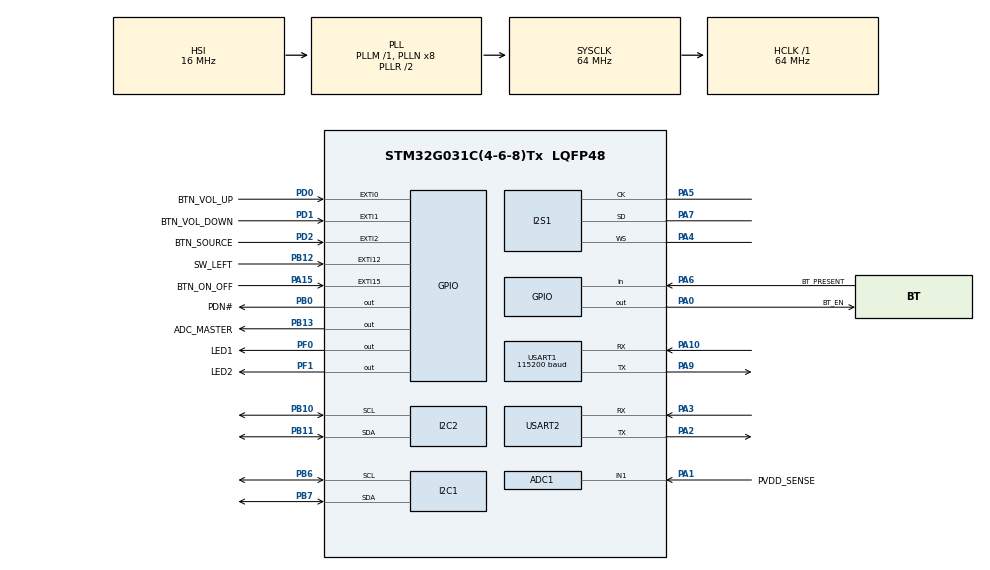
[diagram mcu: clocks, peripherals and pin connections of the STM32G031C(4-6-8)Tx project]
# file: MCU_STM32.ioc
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ADC1.Channel-6\#ChannelRegularConversion=ADC_CHANNEL_1
ADC1.NbrOfConversionFlag=1
ADC1.Rank-6\#ChannelRegularConversion=1
ADC1.SamplingTime-6\#ChannelRegularConversion=ADC_SAMPLINGTIME_COMMON_1
ADC1.SelectedChannel=ADC_CHANNEL_1
ADC1.master=1
I2C1.Timing=0x10B17DB5
I2C2.Timing=0x10B17DB5
I2S1.AudioFreq=I2S_AUDIOFREQ_48K
I2S1.CPOL=I2S_CPOL_LOW
I2S1.DataFormat=I2S_DATAFORMAT_24B
I2S1.ErrorAudioFreq=-0.79 %
I2S1.FullDuplexMode=I2S_FULLDUPLEXMODE_DISABLE
I2S1.Instance=SPI$Index
I2S1.Mode=I2S_MODE_SLAVE_RX
I2S1.RealAudioFreq=47.619 KHz
I2S1.Standard=I2S_STANDARD_PHILIPS
I2S1.VirtualMode=I2S_MODE_SLAVE
Mcu.Family=STM32G0
Mcu.Name=STM32G031C(4-6-8)Tx
Mcu.Package=LQFP48
NVIC.EXTI0_1_IRQn=true\:0\:0\:false\:false\:true\:true\:true\:true
NVIC.EXTI2_3_IRQn=true\:0\:0\:false\:false\:true\:true\:true\:true
NVIC.EXTI4_15_IRQn=true\:0\:0\:false\:false\:true\:true\:true\:true
NVIC.USART1_IRQn=true\:0\:0\:false\:false\:true\:true\:true\:true
PA0.GPIO_Label=BT_EN
PA0.GPIO_PuPd=GPIO_PULLDOWN
PA0.Signal=GPIO_Output
PA1.GPIO_Label=PVDD_SENSE
PA1.Mode=IN1
PA1.Signal=ADC1_IN1
PA10.Mode=Asynchronous
PA10.Signal=USART1_RX
PA13.Mode=Serial_Wire
PA13.Signal=SYS_SWDIO
PA14-BOOT0.Mode=Serial_Wire
PA14-BOOT0.Signal=SYS_SWCLK
PA15.GPIO_Label=BTN_ON_OFF
PA15.GPIO_ModeDefaultEXTI=GPIO_MODE_IT_FALLING
PA15.GPIO_PuPd=GPIO_PULLUP
PA15.Signal=GPXTI15
PA2.Mode=Asynchronous
PA2.Signal=USART2_TX
PA3.Mode=Asynchronous
PA3.Signal=USART2_RX
PA4.Mode=Half_Duplex_Slave
PA4.Signal=I2S1_WS
PA5.Mode=Half_Duplex_Slave
PA5.Signal=I2S1_CK
PA6.GPIO_Label=BT_PRESENT
PA6.GPIO_PuPd=GPIO_PULLUP
PA6.Signal=GPIO_Input
PA7.Mode=Half_Duplex_Slave
PA7.Signal=I2S1_SD
PA9.Mode=Asynchronous
PA9.Signal=USART1_TX
PB0.GPIO_Label=PDN\#
PB0.PinState=GPIO_PIN_SET
PB0.Signal=GPIO_Output
PB10.Mode=I2C
PB10.Signal=I2C2_SCL
PB11.Mode=I2C
PB11.Signal=I2C2_SDA
PB12.GPIO_Label=SW_LEFT
PB12.GPIO_ModeDefaultEXTI=GPIO_MODE_IT_RISING_FALLING
PB12.Signal=GPXTI12
PB13.GPIO_Label=ADC_MASTER
PB13.GPIO_PuPd=GPIO_PULLDOWN
PB13.Signal=GPIO_Output
PB6.Mode=I2C
PB6.Signal=I2C1_SCL
PB7.Mode=I2C
PB7.Signal=I2C1_SDA
PD0.GPIO_Label=BTN_VOL_UP
PD0.GPIO_ModeDefaultEXTI=GPIO_MODE_IT_FALLING
PD0.GPIO_PuPd=GPIO_PULLUP
PD0.Signal=GPXTI0
PD1.GPIO_Label=BTN_VOL_DOWN
PD1.GPIO_ModeDefaultEXTI=GPIO_MODE_IT_FALLING
PD1.GPIO_PuPd=GPIO_PULLUP
PD1.Signal=GPXTI1
PD2.GPIO_Label=BTN_SOURCE
PD2.GPIO_ModeDefaultEXTI=GPIO_MODE_IT_FALLING
PD2.GPIO_PuPd=GPIO_PULLUP
PD2.Signal=GPXTI2
PF0-OSC_IN\ (PF0).GPIO_Label=LED1
PF0-OSC_IN\ (PF0).GPIO_PuPd=GPIO_PULLDOWN
PF0-OSC_IN\ (PF0).PinState=GPIO_PIN_RESET
PF0-OSC_IN\ (PF0).Signal=GPIO_Output
PF1-OSC_OUT\ (PF1).GPIO_Label=LED2
PF1-OSC_OUT\ (PF1).GPIO_PuPd=GPIO_PULLDOWN
PF1-OSC_OUT\ (PF1).PinState=GPIO_PIN_RESET
PF1-OSC_OUT\ (PF1).Signal=GPIO_Output
ProjectManager.HeapSize=0x200
ProjectManager.StackSize=0x400
ProjectManager.TargetToolchain=CMake
RCC.ADCFreq_Value=64000000
RCC.AHBFreq_Value=64000000
RCC.CortexFreq_Value=64000000
RCC.EXTERNAL_CLOCK_VALUE=12288000
RCC.HCLKFreq_Value=64000000
RCC.HSE_VALUE=8000000
RCC.HSI_VALUE=16000000
RCC.LSE_VALUE=32768
RCC.SYSCLKFreq_VALUE=64000000
RCC.SYSCLKSource=RCC_SYSCLKSOURCE_PLLCLK
RCC.VCOOutputFreq_Value=128000000
USART1.BaudRate=115200
USART1.OverSampling=UART_OVERSAMPLING_16
USART1.StopBits=STOPBITS_2
USART1.VirtualMode-Asynchronous=VM_ASYNC
USART2.VirtualMode-Asynchronous=VM_ASYNC
board=custom

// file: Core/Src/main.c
/* USER CODE BEGIN Header */
/**
 ******************************************************************************
 * @file           : main.c
 * @brief          : Main program body
 ******************************************************************************
 * @attention
 *
 * Copyright (c) 2026 STMicroelectronics.
 * All rights reserved.
 *
 * This software is licensed under terms that can be found in the LICENSE file
 * in the root directory of this software component.
 * If no LICENSE file comes with this software, it is provided AS-IS.
 *
 ******************************************************************************
 */
/* USER CODE END Header */
#include "main.h"

/* USER CODE BEGIN Includes */
#include <stdbool.h>
#include <stdint.h>
#include <stdio.h>

#include "input_detection.h"
#include "pc_control.h"
#include "pd_controller.h"

#include "sounds.h"

#include "stm32g0xx_hal_def.h"
#include "stm32g0xx_hal_i2s.h"

/* USER CODE END Includes */

ADC_HandleTypeDef hadc1;

I2C_HandleTypeDef hi2c1;
I2C_HandleTypeDef hi2c2;

I2S_HandleTypeDef hi2s1;

UART_HandleTypeDef huart1;
UART_HandleTypeDef huart2;

void SystemClock_Config(void);
static void MX_GPIO_Init(void);
static void MX_I2C1_Init(void);
static void MX_I2C2_Init(void);
static void MX_I2S1_Init(void);
static void MX_USART1_UART_Init(void);
static void MX_USART2_UART_Init(void);
static void MX_ADC1_Init(void);

/* USER CODE BEGIN 0 */

// static void audio_start_aux(void)
// {
//     /* 1. amps out of shutdown (PDN high + 5 ms) */
//     soundbar_dsp_power_on();

//     /* 2. clocks: no Bluetooth board -> the PCM1808 becomes I2S master
//      *    and its oscillator starts. With the ESP32 board fitted, the
//      *    ESP32 would start its clocks here instead.                    */
//     if (HAL_GPIO_ReadPin(BT_PRESENT_GPIO_Port, BT_PRESENT_Pin) ==
//     GPIO_PIN_SET) {
//         HAL_GPIO_WritePin(ADC_MASTER_GPIO_Port, ADC_MASTER_Pin,
//         GPIO_PIN_SET);
//     }
//     HAL_Delay(20);                     /* oscillator + clocks settle      */

//     /* 3. reset, configure, play (both amps) */
//     if (soundbar_dsp_start(48000) != HAL_OK) {
//         /* an amp did not answer on I2C: wrong address, PDN, solder joint */
//         Error_Handler();
//     }
//     soundbar_dsp_set_volume(0.0f);
// }
#define TAS_PDN_PORT PDN__GPIO_Port
#define TAS_PDN_PIN PDN__Pin
static void tas_pdn(uint8_t on) {
  HAL_GPIO_WritePin(TAS_PDN_PORT, TAS_PDN_PIN,
                    on ? GPIO_PIN_SET : GPIO_PIN_RESET);
}

static void start_adc(void) {
  HAL_GPIO_WritePin(ADC_MASTER_GPIO_Port, ADC_MASTER_Pin, GPIO_PIN_SET);
}

static void stop_adc(void) {
  HAL_GPIO_WritePin(ADC_MASTER_GPIO_Port, ADC_MASTER_Pin, GPIO_PIN_RESET);
}

#define TAS_REG_PAGE 0x00 /* on every page: selects the page     */
#define TAS_REG_BOOK 0x7F /* on page 0 only: selects the book    */

#define TAS_REG_CTRL_1 0x02 /* switching frequency, modulation     */
#define TAS_STATE_768KHZ 0x00
#define TAS_STATE_384KHZ 0x10
#define TAS_STATE_BD 0x00   // in theory no inductor needed i think
#define TAS_STATE_1SPW 0x01 // efficient but requires LC filter
#define TAS_STATE_HYBRID                                                       \
  0x02 // requires the supply voltage to be specified using the PPC3 tool which
       // we dont have access to

#define TAS_REG_CTRL_2                                                         \
  0x03 /* state (deep sleep/sleep/Hi-Z/play), mute, DSP reset */
#define TAS_STATE_DEEP_SLEEP 0x00
#define TAS_STATE_SLEEP 0x01
#define TAS_STATE_HIZ 0x02
#define TAS_STATE_DIS_DSP 0x10
#define TAS_STATE_PLAY 0x03
#define TAS_STATE_MUTE 0x08

#define TAS_REG_SAP_CTRL_3 0x35 /* which input goes to which DSP path  */
#define TAS_STATE_BOTH_RIGHT 0x21
#define TAS_STATE_BOTH_LEFT 0x12

#define TAS_REG_DIG_VOL 0x4C /* master volume, -0.5 dB steps, default 0x30 */

#define TAS_REG_AGAIN 0x54 /* analog gain, default 0x00 */

#define TAS_REG_DAC_CTRL 0x5D /* DAC control, default 0xF8 */

#define TAS_REG_PHASE_CTRL 0x6A /* phase control */
#define TAS_STATE_I2S_SYNC_EN 0x02
#define TAS_STATE_PHASE_SYNC_EN 0x01
#define TAS_PHASE(n) ((uint8_t)((n) << 2))

#define CHAN_FAULT 0x70
#define GLOBAL_FAULT1 0x71
#define GLOBAL_FAULT2 0x72
#define OT_WARNING 0x73

#define TAS_REG_FAULT_CLEAR 0x78
#define TAS_FAULT_CLEAR 0x80

#define TAS_REG_PIN_CONTROL2                                                   \
  0x75 /* fault latch enables [DS Table 7-48], default 0xF8 */
#define TAS_LATCHES_OFF                                                        \
  0xC0 /* bits 7-6 reserved = 11; bits 5-3 = 0: clock fault,                   \
          OTSD and OT warning flags show the current status */
#define TAS_REG_MISC_CONTROL 0x76 /* [DS Table 7-49], default 0x00 */
#define TAS_OTSD_AUTO_REC                                                      \
  0x10 /* bit 4: restart by itself after over-temperature */

#define TAS_MAX_CHAN_FAULTS 3 /* overcurrent/DC retries before giving up */

#define TAS_REG_DSP_MISC 0x66 /* EQ/DRC bypass, separate L/R coefs   */
#define TAS_STATE_LR_SEPERATE 0x08

#define TAS_BOOK_CTRL 0x00 /* control port registers above        */

#define TAS_BOOK_DSP 0x8C
#define TAS_PAGE_INPUT_MIXER 0x29
#define TAS_STATE_L_TO_L 0x18
#define TAS_STATE_R_TO_L 0x1C
#define TAS_STATE_L_TO_R 0x20
#define TAS_STATE_R_TO_R 0x24

#define TAS_I2C (&hi2c2)
#define TAS_I2C_TIMEOUT_MS 10
HAL_StatusTypeDef tas_write(uint8_t addr, uint8_t reg, uint8_t val) {
  return HAL_I2C_Mem_Write(TAS_I2C, (uint16_t)(addr), reg, I2C_MEMADD_SIZE_8BIT,
                           &val, 1, TAS_I2C_TIMEOUT_MS);
}

HAL_StatusTypeDef tas_write_32(uint8_t addr, uint8_t reg, uint32_t val) {
  uint32_t be_val = __builtin_bswap32(val); // convert to big-endian
  return HAL_I2C_Mem_Write(TAS_I2C, (uint16_t)(addr), reg, I2C_MEMADD_SIZE_8BIT,
                           (uint8_t *)&be_val, 4, TAS_I2C_TIMEOUT_MS);
}

HAL_StatusTypeDef tas_read(uint8_t addr, uint8_t reg, uint8_t *val) {
  return HAL_I2C_Mem_Read(TAS_I2C, (uint16_t)(addr), reg, I2C_MEMADD_SIZE_8BIT,
                          val, 1, TAS_I2C_TIMEOUT_MS);
}

HAL_StatusTypeDef tas_select(uint8_t addr, uint8_t book, uint8_t page) {
  HAL_StatusTypeDef st = tas_write(addr, TAS_REG_PAGE, 0x00);
  st |= tas_write(addr, TAS_REG_BOOK, book);
  st |= tas_write(addr, TAS_REG_PAGE, page);
  return st;
}

HAL_StatusTypeDef tas_deep_sleep(uint8_t addr) {
  HAL_StatusTypeDef st = tas_select(addr, TAS_BOOK_CTRL, 0x00);
  st |= tas_write(addr, TAS_REG_CTRL_2, TAS_STATE_HIZ);
  st |=
      tas_write(addr, TAS_REG_CTRL_2, TAS_STATE_DEEP_SLEEP | TAS_STATE_DIS_DSP);
  return st;
}

HAL_StatusTypeDef tas_play(uint8_t addr) {
  HAL_StatusTypeDef st;
  st = tas_select(addr, TAS_BOOK_CTRL, 0x00);
  st |= tas_write(addr, TAS_REG_CTRL_2, TAS_STATE_HIZ);
  st |= tas_write(addr, TAS_REG_CTRL_2, TAS_STATE_PLAY);
  return st;
}

HAL_StatusTypeDef tas_set_volume(uint8_t addr, uint8_t code) {
  // -0.5 dB steps, 0x30 = 0 dB, 0xFF = mute, 0x00 = +24 dB
  HAL_StatusTypeDef st = tas_select(addr, TAS_BOOK_CTRL, 0x00);
  st |= tas_write(addr, TAS_REG_DIG_VOL, code);
  return st;
}

#define VOL_MAX 0x00      /* +24 dB (loudest the TAS can do), clips above -24 dBFS */
#define VOL_MIN 0xFC      /* -102 dB (last 2 dB step before mute 0xFF) */
#define VOL_START 0x30    /* 0 dB at power-up                   */
#define VOL_STEP 4        /* 2 dB per button press              */
#define VOL_SOUND_MIN 0x6C /* sounds play at least at -30 dB    */
static uint8_t vol_code = VOL_START;

static HAL_StatusTypeDef tas_both_volume(uint8_t code) {
  HAL_StatusTypeDef st = tas_set_volume(LEFT_TAS_ADDR, code);
  st |= tas_set_volume(RIGHT_TAS_ADDR, code);
  return st;
}

/* Everything that must happen while the I2S clock is stopped. */
static HAL_StatusTypeDef tas_prepare(uint8_t addr) {
  HAL_StatusTypeDef st = tas_select(addr, TAS_BOOK_CTRL, 0x00);

  st |= tas_write(addr, TAS_REG_CTRL_1, TAS_STATE_384KHZ | TAS_STATE_1SPW);

  st |= tas_write(addr, TAS_REG_CTRL_2, TAS_STATE_HIZ | TAS_STATE_DIS_DSP);

  // this sets the input routing to the DSPs.
  // The TAS5805M has two DSPs, one for each channel, and each DSP has two
  // inputs. The default routing is that the left input goes to the left DSP and
  // the right input goes to the right DSP. We want both DSPs to receive the
  // same input, so we set both DSPs to receive the left input. This is done by
  // writing 0x12 to the SAP_CTRL_3 register for the left TAS5805M and 0x21 for
  // the right TAS5805M. However, this loses the ability to mix left and right
  // signals as only one input (doubled) reaches the dsp. Therefore, we use the
  // input mixer instead to achieve the same goal while retaining the ability to
  // mix left and right signals. switch (addr) {
  //   case LEFT_TAS_ADDR:  st |= tas_write(addr, TAS_REG_SAP_CTRL_3,
  //   TAS_STATE_BOTH_LEFT); break; case RIGHT_TAS_ADDR: st |= tas_write(addr,
  //   TAS_REG_SAP_CTRL_3, TAS_STATE_BOTH_RIGHT); break;
  // }

  st |= tas_write(addr, TAS_REG_AGAIN,
                  0x07); // -3.5 dB analog gain -> ~19.7 V peak output which
                         // matches the 20V supply

  st |= tas_write(addr, TAS_REG_DAC_CTRL,
                  0x78); // set DAC Frequency to 6.144 MHz instead of 3.072 MHz,
                         // because we can.

  uint8_t phase = (addr == LEFT_TAS_ADDR)
                      ? TAS_PHASE(0)
                      : TAS_PHASE(1); // 0x00 = phase 0, 0x04 = phase 1
  st |= tas_write(addr, TAS_REG_PHASE_CTRL,
                  phase | TAS_STATE_I2S_SYNC_EN | TAS_STATE_PHASE_SYNC_EN);

  st |= tas_write(addr, TAS_REG_PIN_CONTROL2, TAS_LATCHES_OFF);
  st |= tas_write(addr, TAS_REG_MISC_CONTROL, TAS_OTSD_AUTO_REC);

  // this sets the DSPs to use separate coefficients for left and right channels
  // because our "left" and "right" channels are actually the tweeter and
  // midrange channels, which are both on the same side of the soundbar.
  // Therefore, we need to use separate coefficients for each channel.
  st |= tas_write(addr, TAS_REG_DSP_MISC, TAS_STATE_LR_SEPERATE);

  return st;
}

void tas_input_mixer(uint8_t addr, uint32_t LtoL, uint32_t RtoL, uint32_t LtoR,
                     uint32_t RtoR) {
  // 9.23 fixed precision format, 0x80000000 = -256.0, 0x00800000 = 1.0,
  // 0x00000000 = 0.0
  HAL_StatusTypeDef st = tas_select(addr, TAS_BOOK_DSP, TAS_PAGE_INPUT_MIXER);
  st |= tas_write_32(addr, TAS_STATE_L_TO_L, LtoL);
  st |= tas_write_32(addr, TAS_STATE_R_TO_L, RtoL);
  st |= tas_write_32(addr, TAS_STATE_L_TO_R, LtoR);
  st |= tas_write_32(addr, TAS_STATE_R_TO_R, RtoR);

  if (st != HAL_OK)
    Error_Handler();
}

uint32_t bq_tweeter[] = {
    // Order: b0, b1, b2, -a1, -a2 (on earlevel.com a = b, b = a)
    // LR4, 3000Hz, High-Pass, Q=0.707, 0dB gain
    0x06F66F74, 0xF2132118, 0x06F66F74, 0x0DCA4A1D, 0xF9F08C4D,
    0x06F66F74, 0xF2132118, 0x06F66F74, 0x0DCA4A1D, 0xF9F08C4D,
};

uint32_t bq_midrange[] = {
    // Order: b0, b1, b2, -a1, -a2 (on earlevel.com a = b, b = a)
    // LR4, 3000Hz, Low-Pass, Q=0.707, 0dB gain
    0x00114A66, 0x002294CB, 0x00114A66, 0x0DCA4A1D, 0xF9F08C4D,
    0x00114A66, 0x002294CB, 0x00114A66, 0x0DCA4A1D, 0xF9F08C4D,
    // LR4, 100Hz, High-Pass, Q=0.707, 0dB gain
    0x07F68B2D, 0xF012E9A6, 0x07F68B2D, 0x0FED0B2D, 0xF812DE78,
    0x07F68B2D, 0xF012E9A6, 0x07F68B2D, 0x0FED0B2D, 0xF812DE78,
    // Bass lift, 300Hz, Low-Shelf, Q=0.707, +6dB gain
    0x080BC33F, 0xF03940BA, 0x07BC89CB, 0x0FC7227A, 0xF838162B,
};
#define TAS_BOOK_BQ 0xAA
#define TAS_PAGE_BQ_MIDRANGE 0x24
#define TAS_START_ADDR_BQ_MIDRANGE 0x18
#define TAS_PAGE_BQ_TWEETER 0x26
#define TAS_START_ADDR_BQ_TWEETER 0x54

void tas_equalizer(uint8_t addr, uint8_t page, uint8_t start_addr,
                   uint32_t *data, size_t length) {
  HAL_StatusTypeDef st = HAL_OK;

  st |= tas_select(addr, TAS_BOOK_BQ, page);

  uint8_t curr_addr = start_addr;
  for (int i = 0; i < length; i++) {
    st |= tas_write_32(addr, curr_addr, data[i]);
    curr_addr += sizeof(data[0]);
  }

  if (st != HAL_OK)
    Error_Handler();
}

static void tas_startup(void) {
  HAL_StatusTypeDef st = HAL_OK;
  tas_pdn(false);
  HAL_Delay(6);
  tas_pdn(true);
  HAL_Delay(6);
  stop_adc();
  HAL_Delay(6);
  st |= tas_prepare(LEFT_TAS_ADDR);
  st |= tas_prepare(RIGHT_TAS_ADDR);
  start_adc();
  HAL_Delay(20); /* oscillator + PLL     */

  /* release the DSPs (Hi-Z, DIS_DSP = 0), then wait [DS 7.5.3.1 step 4/5] */
  st |= tas_select(LEFT_TAS_ADDR, TAS_BOOK_CTRL, 0x00);
  st |= tas_select(RIGHT_TAS_ADDR, TAS_BOOK_CTRL, 0x00);
  st |= tas_write(LEFT_TAS_ADDR, TAS_REG_CTRL_2, TAS_STATE_HIZ);
  st |= tas_write(RIGHT_TAS_ADDR, TAS_REG_CTRL_2, TAS_STATE_HIZ);
  HAL_Delay(6);

  /* (DSP coefficients here) */
  // R = tweerter, L = mids -> forward left input to both channels
  tas_input_mixer(LEFT_TAS_ADDR, 0x00800000, 0x00000000, 0x00800000,
                  0x00000000);
  // R = tweerter, L = mids -> forward right input to both channels
  tas_input_mixer(RIGHT_TAS_ADDR, 0x00000000, 0x00800000, 0x00000000,
                  0x00800000);

  size_t length_midrange = sizeof(bq_midrange) / sizeof(bq_midrange[0]);
  size_t length_tweeter = sizeof(bq_tweeter) / sizeof(bq_tweeter[0]);
  tas_equalizer(LEFT_TAS_ADDR, TAS_PAGE_BQ_MIDRANGE, TAS_START_ADDR_BQ_MIDRANGE,
                bq_midrange, length_midrange);
  tas_equalizer(LEFT_TAS_ADDR, TAS_PAGE_BQ_TWEETER, TAS_START_ADDR_BQ_TWEETER,
                bq_tweeter, length_tweeter);
  tas_equalizer(RIGHT_TAS_ADDR, TAS_PAGE_BQ_MIDRANGE,
                TAS_START_ADDR_BQ_MIDRANGE, bq_midrange, length_midrange);
  tas_equalizer(RIGHT_TAS_ADDR, TAS_PAGE_BQ_TWEETER, TAS_START_ADDR_BQ_TWEETER,
                bq_tweeter, length_tweeter);

  st |= tas_both_volume(vol_code); /* PDN reset it to 0 dB */

  st |= tas_select(LEFT_TAS_ADDR, TAS_BOOK_CTRL, 0x00);
  st |= tas_select(RIGHT_TAS_ADDR, TAS_BOOK_CTRL, 0x00);
  st |= tas_write(LEFT_TAS_ADDR, TAS_REG_CTRL_2, TAS_STATE_PLAY);
  st |= tas_write(RIGHT_TAS_ADDR, TAS_REG_CTRL_2, TAS_STATE_PLAY);
  HAL_Delay(6);

  /* the clock stop left a latched clock fault: clear it */
  st |= tas_write(LEFT_TAS_ADDR, TAS_REG_FAULT_CLEAR, TAS_FAULT_CLEAR);
  st |= tas_write(RIGHT_TAS_ADDR, TAS_REG_FAULT_CLEAR, TAS_FAULT_CLEAR);

  if (st != HAL_OK)
    Error_Handler();
}

void tas_handle_error(uint8_t addr, uint8_t reg, uint8_t val) {
  char buf[64];
  snprintf(buf, sizeof buf,
           "TAS5805M FAULT: addr=0x%02X, reg=0x%02X, val=0x%02X\n", addr, reg,
           val);
  reply(buf);
  // while (1) {
  //   HAL_GPIO_TogglePin(LED1_GPIO_Port, LED1_Pin);
  //   HAL_Delay(100);
  // }
}

void tas_handle_warning(uint8_t addr, uint8_t reg, uint8_t val) {
  char buf[64];
  snprintf(buf, sizeof buf,
           "TAS5805M WARNING: addr=0x%02X, reg=0x%02X, val=0x%02X\n", addr, reg,
           val);
  reply(buf);
  // while (1) {
  //   HAL_GPIO_TogglePin(LED1_GPIO_Port, LED1_Pin);
  //   HAL_Delay(1000);
  // }
}

void tas_faults(uint8_t addr) {
  static uint8_t chan_fault_count[2]; /* [0] left, [1] right */
  uint8_t idx = (addr == LEFT_TAS_ADDR) ? 0 : 1;
  if (chan_fault_count[idx] > TAS_MAX_CHAN_FAULTS)
    return; /* gave up, stays in Hi-Z */

  HAL_StatusTypeDef st = tas_select(addr, TAS_BOOK_CTRL, 0x00);
  uint8_t chan = 0, g1 = 0, g2 = 0, ot = 0;
  st |= tas_read(addr, CHAN_FAULT, &chan);
  st |= tas_read(addr, GLOBAL_FAULT1, &g1);
  st |= tas_read(addr, GLOBAL_FAULT2, &g2);
  st |= tas_read(addr, OT_WARNING, &ot);
  if (st != HAL_OK)
    Error_Handler();

  if (chan)
    tas_handle_error(addr, CHAN_FAULT, chan);
  if (g1)
    tas_handle_error(addr, GLOBAL_FAULT1, g1);
  if (g2)
    tas_handle_error(addr, GLOBAL_FAULT2, g2);
  if (ot)
    tas_handle_warning(addr, OT_WARNING, ot);
  if (!(chan | g1 | g2 | ot))
    return;

  /* overcurrent / DC on a speaker output: a real hardware problem.
     Retry a few times, then give up and keep the outputs off.     */
  if (chan && ++chan_fault_count[idx] > TAS_MAX_CHAN_FAULTS) {
    tas_write(addr, TAS_REG_CTRL_2, TAS_STATE_HIZ);
    tas_handle_error(addr, CHAN_FAULT, chan); /* last report, flag kept */
    return;
  }

  /* clock, PVDD under/overvoltage, temperature: the chip recovers by
     itself [DS 7.5.3.3]; only the latched flag has to be cleared.
     If the cause is still there, the bit comes back immediately.  */
  tas_write(addr, TAS_REG_FAULT_CLEAR, TAS_FAULT_CLEAR);
}

#define CHUNK_SRC 32                          // source samples per chunk
static int16_t buf[CHUNK_SRC * 2 * 2];        // ×2 frames, ×2 channels = 256 bytes

/* both amps: same state, page 0 / book 0 */
static HAL_StatusTypeDef tas_both_state(uint8_t state) {
  HAL_StatusTypeDef st = HAL_OK;
  st |= tas_select(LEFT_TAS_ADDR, TAS_BOOK_CTRL, 0x00);
  st |= tas_write(LEFT_TAS_ADDR, TAS_REG_CTRL_2, state);
  st |= tas_select(RIGHT_TAS_ADDR, TAS_BOOK_CTRL, 0x00);
  st |= tas_write(RIGHT_TAS_ADDR, TAS_REG_CTRL_2, state);
  return st;
}

static HAL_StatusTypeDef tas_both_clear_faults(void) {
  HAL_StatusTypeDef st = HAL_OK;
  st |= tas_write(LEFT_TAS_ADDR, TAS_REG_FAULT_CLEAR, TAS_FAULT_CLEAR);
  st |= tas_write(RIGHT_TAS_ADDR, TAS_REG_FAULT_CLEAR, TAS_FAULT_CLEAR);
  return st;
}

/* send 'frames' frames of silence; starts the clocks on the first call */
static void i2s_silence(I2S_HandleTypeDef *hi2s, size_t frames) {
  for (size_t k = 0; k < sizeof(buf) / sizeof(buf[0]); k++)
    buf[k] = 0;
  size_t per_chunk = sizeof(buf) / sizeof(buf[0]) / 2;     // 64 frames
  while (frames) {
    size_t f = (frames < per_chunk) ? frames : per_chunk;
    HAL_I2S_Transmit(hi2s, (uint16_t *)buf, f * 2, HAL_MAX_DELAY);
    frames -= f;
  }
}

static const int16_t sine_1k[32] = {
  0, 1561, 3061, 4445, 5657, 6652, 7391, 7846,
  8000, 7846, 7391, 6652, 5657, 4445, 3061, 1561,
  0, -1561, -3061, -4445, -5657, -6652, -7391, -7846,
  -8000, -7846, -7391, -6652, -5657, -4445, -3061, -1561
};

/* one 16-bit half-word to the I2S data register, as soon as there is room.
 * The I2S must already be running (i2s_silence() enables it). */
static inline void i2s_put(SPI_TypeDef *spi, int16_t s) {
  while ((spi->SR & SPI_SR_TXE) == 0U) {
  }
  spi->DR = (uint16_t)s;
}

/* Streams a 16 kHz sound sample by sample instead of refilling a buffer
 * between HAL_I2S_Transmit() calls: that refill took ~30 us at -O0, longer
 * than one 15.5 us slot, so the transmitter ran dry every chunk. Here each
 * sample is fetched while the previous one is still shifting out. */
static void sound_stream(I2S_HandleTypeDef *hi2s, const int16_t *pcm, size_t n) {
  SPI_TypeDef *spi = hi2s->Instance;
  for (size_t j = 0; j < n; j++) {
    int16_t s = pcm[j];
    for (int r = 0; r < 2; r++) {             // 16 kHz -> 32 kHz
      i2s_put(spi, s);                        // L
      i2s_put(spi, s);                        // R
    }
  }
}

/* test tone: 'ms' milliseconds of 1 kHz on L and R */
void sine_play(I2S_HandleTypeDef *hi2s, uint32_t ms) {
  size_t frames_per_chunk = sizeof(buf) / sizeof(buf[0]) / 2;   // 64 frames = 2 periods
  for (size_t k = 0; k < frames_per_chunk; k++) {
    int16_t s = sine_1k[k % 32];
    buf[2 * k]     = s;                    // L
    buf[2 * k + 1] = s;                    // R
  }
  uint32_t chunks = ms * 32 / frames_per_chunk;                 // 32 frames per ms
  for (uint32_t c = 0; c < chunks; c++)
    HAL_I2S_Transmit(hi2s, (uint16_t *)buf, frames_per_chunk * 2, HAL_MAX_DELAY);
}

/* ADC + both amps on or off. Off = amps in deep sleep (I2C still works,
 * so play_sound() can wake them), PCM1808 clocks stopped. */
void audio_set(uint8_t on) {
  if (on) {
    start_adc();
    HAL_Delay(20); /* oscillator + TAS lock */
    tas_play(LEFT_TAS_ADDR);
    tas_play(RIGHT_TAS_ADDR);
    tas_both_clear_faults();
  } else {
    tas_deep_sleep(LEFT_TAS_ADDR);
    tas_deep_sleep(RIGHT_TAS_ADDR);
    stop_adc();
  }
}

/* 'ms' milliseconds of 'hz' from the sine table (amplitude 8000 >> shift).
 * Pick ms as whole periods of hz so the tone ends at a zero crossing. */
static void tone_stream(I2S_HandleTypeDef *hi2s, uint32_t hz, uint32_t ms,
                        uint8_t shift) {
  SPI_TypeDef *spi = hi2s->Instance;
  uint32_t step = (hz << 16) / 1000U; /* table index per frame, 16.16 */
  uint32_t phase = 0;
  for (uint32_t k = 0; k < ms * 32U; k++, phase += step) {
    int16_t s = (int16_t)(sine_1k[(phase >> 16) & 31U] >> shift);
    i2s_put(spi, s);                          // L
    i2s_put(spi, s);                          // R
  }
}

/* error: two short low beeps (replaces the 9.6 KB error.wav) */
static void error_stream(I2S_HandleTypeDef *hi2s) {
  tone_stream(hi2s, 500, 100, 1);
  i2s_silence(hi2s, 50 * 32);                 // 50 ms gap
  tone_stream(hi2s, 400, 100, 1);
}

/* play a 16 kHz PCM sound, or the generated error beeps if pcm == NULL */
void play_sound(const int16_t *pcm, size_t n) {
  HAL_StatusTypeDef st = HAL_OK;

  /* 1. amps quiet, ADC off the bus */
  st |= tas_both_state(TAS_STATE_MUTE | TAS_STATE_HIZ);
  HAL_Delay(6);
  stop_adc();
  HAL_I2S_DeInit(&hi2s1);

  /* 2. MCU becomes I2S master */
  hi2s1.Instance = SPI1;
  hi2s1.Init.Mode = I2S_MODE_MASTER_TX;
  hi2s1.Init.Standard = I2S_STANDARD_PHILIPS;
  hi2s1.Init.DataFormat = I2S_DATAFORMAT_16B_EXTENDED;
  hi2s1.Init.MCLKOutput = I2S_MCLKOUTPUT_DISABLE;
  hi2s1.Init.AudioFreq = I2S_AUDIOFREQ_32K;
  hi2s1.Init.CPOL = I2S_CPOL_LOW;
  if (HAL_I2S_Init(&hi2s1) != HAL_OK)
    Error_Handler();

  /* 3. start the clocks with silence, let the TAS lock (~20 ms) */
  i2s_silence(&hi2s1, 640);                   // 640 frames = 20 ms at 32 kHz

  /* 4. play, never quieter than VOL_SOUND_MIN so feedback stays audible */
  st |= tas_both_volume(vol_code > VOL_SOUND_MIN ? VOL_SOUND_MIN : vol_code);
  st |= tas_both_state(TAS_STATE_PLAY);
  st |= tas_both_clear_faults();
  if (pcm)
    sound_stream(&hi2s1, pcm, n);
  else
    error_stream(&hi2s1);
  // sine_play(&hi2s1, 500);                  // 0.5 s test tone
  i2s_silence(&hi2s1, 160);                   // 5 ms tail so the last sample isn't cut

  /* 5. back to the ADC, but only if aux is selected */
  st |= tas_both_state(TAS_STATE_MUTE | TAS_STATE_HIZ);
  HAL_Delay(6);
  HAL_I2S_DeInit(&hi2s1);                     // pins back to high-Z
  st |= tas_both_volume(vol_code);
  check_aux();                                // ADC + amps on or off

  if (st != HAL_OK)
    Error_Handler();
}

static void volume_step(int step) {
  int v = vol_code + step;
  if (v < VOL_MAX || v > VOL_MIN) {
    play_sound(ERROR_SOUND);
    return;
  }
  vol_code = (uint8_t)v;
  if (tas_both_volume(vol_code) != HAL_OK)
    Error_Handler();
}

void volume_up(void) { volume_step(-VOL_STEP); }  /* lower code = louder */
void volume_down(void) { volume_step(VOL_STEP); }

/* Wait until BTN_ON_OFF is released and has stopped bouncing, then drop every
 * button event collected so far, so nothing fires right after the switch. */
static void buttons_settle(void) {
  while (HAL_GPIO_ReadPin(BTN_ON_OFF_GPIO_Port, BTN_ON_OFF_Pin) == GPIO_PIN_RESET) {
  }
  HAL_Delay(50);
  for (uint8_t i = 0; i < 5; i++)
    swPending[i] = 0;
}

/* Stop 1 is the deepest mode that keeps RAM and wakes from any EXTI line.
 * Standby/Shutdown only wake from WKUP pins, and BTN_ON_OFF (PA15) is not one. */
void mcu_sleep(void) {
  play_sound(SOUND(switch_off_s));
  audio_set(0);
  tas_pdn(false); /* amps fully off */
  HAL_GPIO_WritePin(GPIOF, LED1_Pin | LED2_Pin, GPIO_PIN_RESET);
  buttons_settle();

  uint32_t imr = EXTI->IMR1;
  EXTI->IMR1 = imr & BTN_ON_OFF_Pin; /* only BTN_ON_OFF (EXTI line 15) may wake us */
  do {
    HAL_SuspendTick();
    HAL_PWR_EnterSTOPMode(PWR_LOWPOWERREGULATOR_ON, PWR_STOPENTRY_WFI);
    HAL_ResumeTick();
    SystemClock_Config(); /* Stop leaves the MCU on HSI16, PLL off */
  } while (!swPending[BTN_ON_OFF]);
  __HAL_GPIO_EXTI_CLEAR_IT(0xFFFF); /* edges on masked lines while asleep */
  EXTI->IMR1 = imr;

  buttons_settle();
  tas_startup(); /* PDN cycle, full TAS config, volume */
  play_sound(SOUND(switch_on_s)); /* ends with check_aux() */
}
/* USER CODE END 0 */

int main(void)
{

  /* MCU Configuration--------------------------------------------------------*/

  /* Reset of all peripherals, Initializes the Flash interface and the Systick. */
  HAL_Init();

  /* Configure the system clock */
  SystemClock_Config();

  /* Initialize all configured peripherals */
  MX_GPIO_Init();
  MX_I2C1_Init();
  MX_I2C2_Init();
  MX_I2S1_Init();
  MX_USART1_UART_Init();
  MX_USART2_UART_Init();
  MX_ADC1_Init();
  /* USER CODE BEGIN 2 */
  // In 24/32-bit mode the Size argument counts 32-bit samples, not half-words

  tas_startup();

  pc_control_start();

  // audio_start_aux();

  // uint32_t last_poll = HAL_GetTick();
  // tas_faults_t fl, fr;

  check_aux(); // must happen after tas_startup() because it uses the I2C bus to
               // talk to the TAS5805M chips
  /* USER CODE END 2 */

  /* Infinite loop */
  /* USER CODE BEGIN WHILE */
  while (1) {

    handle_inputs();
    // if (HAL_GetTick() - last_poll >= 100) {
    //     last_poll = HAL_GetTick();
    //     if (soundbar_dsp_poll(&fl, &fr)) {
    //         /* log fl/fr over UART here, e.g. printf("%02X %02X\n", ...) */
    //         HAL_GPIO_TogglePin(LED1_GPIO_Port, LED1_Pin);
    //     }
    // }

    pc_control_poll();
    // static uint32_t last = 0;
    // if (HAL_GetTick() - last >= 100) {
    //     last = HAL_GetTick();
    //     tas_faults(LEFT_TAS_ADDR);
    //     tas_faults(RIGHT_TAS_ADDR);
    // }
  }

    /* USER CODE END WHILE */

}

void SystemClock_Config(void)
{
  RCC_OscInitTypeDef RCC_OscInitStruct = {0};
  RCC_ClkInitTypeDef RCC_ClkInitStruct = {0};

  /** Configure the main internal regulator output voltage
  */
  HAL_PWREx_ControlVoltageScaling(PWR_REGULATOR_VOLTAGE_SCALE1);

  /** Initializes the RCC Oscillators according to the specified parameters
  * in the RCC_OscInitTypeDef structure.
  */
  RCC_OscInitStruct.OscillatorType = RCC_OSCILLATORTYPE_HSI;
  RCC_OscInitStruct.HSIState = RCC_HSI_ON;
  RCC_OscInitStruct.HSIDiv = RCC_HSI_DIV1;
  RCC_OscInitStruct.HSICalibrationValue = RCC_HSICALIBRATION_DEFAULT;
  RCC_OscInitStruct.PLL.PLLState = RCC_PLL_ON;
  RCC_OscInitStruct.PLL.PLLSource = RCC_PLLSOURCE_HSI;
  RCC_OscInitStruct.PLL.PLLM = RCC_PLLM_DIV1;
  RCC_OscInitStruct.PLL.PLLN = 8;
  RCC_OscInitStruct.PLL.PLLP = RCC_PLLP_DIV2;
  RCC_OscInitStruct.PLL.PLLQ = RCC_PLLQ_DIV2;
  RCC_OscInitStruct.PLL.PLLR = RCC_PLLR_DIV2;
  if (HAL_RCC_OscConfig(&RCC_OscInitStruct) != HAL_OK)
  {
    Error_Handler();
  }

  /** Initializes the CPU, AHB and APB buses clocks
  */
  RCC_ClkInitStruct.ClockType = RCC_CLOCKTYPE_HCLK|RCC_CLOCKTYPE_SYSCLK
                              |RCC_CLOCKTYPE_PCLK1;
  RCC_ClkInitStruct.SYSCLKSource = RCC_SYSCLKSOURCE_PLLCLK;
  RCC_ClkInitStruct.AHBCLKDivider = RCC_SYSCLK_DIV1;
  RCC_ClkInitStruct.APB1CLKDivider = RCC_HCLK_DIV1;

  if (HAL_RCC_ClockConfig(&RCC_ClkInitStruct, FLASH_LATENCY_2) != HAL_OK)
  {
    Error_Handler();
  }
}

static void MX_ADC1_Init(void)
{

  ADC_ChannelConfTypeDef sConfig = {0};

  /** Configure the global features of the ADC (Clock, Resolution, Data Alignment and number of conversion)
  */
  hadc1.Instance = ADC1;
  hadc1.Init.ClockPrescaler = ADC_CLOCK_SYNC_PCLK_DIV2;
  hadc1.Init.Resolution = ADC_RESOLUTION_12B;
  hadc1.Init.DataAlign = ADC_DATAALIGN_RIGHT;
  hadc1.Init.ScanConvMode = ADC_SCAN_DISABLE;
  hadc1.Init.EOCSelection = ADC_EOC_SINGLE_CONV;
  hadc1.Init.LowPowerAutoWait = DISABLE;
  hadc1.Init.LowPowerAutoPowerOff = DISABLE;
  hadc1.Init.ContinuousConvMode = DISABLE;
  hadc1.Init.NbrOfConversion = 1;
  hadc1.Init.DiscontinuousConvMode = DISABLE;
  hadc1.Init.ExternalTrigConv = ADC_SOFTWARE_START;
  hadc1.Init.ExternalTrigConvEdge = ADC_EXTERNALTRIGCONVEDGE_NONE;
  hadc1.Init.DMAContinuousRequests = DISABLE;
  hadc1.Init.Overrun = ADC_OVR_DATA_PRESERVED;
  hadc1.Init.SamplingTimeCommon1 = ADC_SAMPLETIME_1CYCLE_5;
  hadc1.Init.SamplingTimeCommon2 = ADC_SAMPLETIME_1CYCLE_5;
  hadc1.Init.OversamplingMode = DISABLE;
  hadc1.Init.TriggerFrequencyMode = ADC_TRIGGER_FREQ_HIGH;
  if (HAL_ADC_Init(&hadc1) != HAL_OK)
  {
    Error_Handler();
  }

  /** Configure Regular Channel
  */
  sConfig.Channel = ADC_CHANNEL_1;
  sConfig.Rank = ADC_REGULAR_RANK_1;
  sConfig.SamplingTime = ADC_SAMPLINGTIME_COMMON_1;
  if (HAL_ADC_ConfigChannel(&hadc1, &sConfig) != HAL_OK)
  {
    Error_Handler();
  }

}

static void MX_I2C1_Init(void)
{

  hi2c1.Instance = I2C1;
  hi2c1.Init.Timing = 0x10B17DB5;
  hi2c1.Init.OwnAddress1 = 0;
  hi2c1.Init.AddressingMode = I2C_ADDRESSINGMODE_7BIT;
  hi2c1.Init.DualAddressMode = I2C_DUALADDRESS_DISABLE;
  hi2c1.Init.OwnAddress2 = 0;
  hi2c1.Init.OwnAddress2Masks = I2C_OA2_NOMASK;
  hi2c1.Init.GeneralCallMode = I2C_GENERALCALL_DISABLE;
  hi2c1.Init.NoStretchMode = I2C_NOSTRETCH_DISABLE;
  if (HAL_I2C_Init(&hi2c1) != HAL_OK)
  {
    Error_Handler();
  }

  /** Configure Analogue filter
  */
  if (HAL_I2CEx_ConfigAnalogFilter(&hi2c1, I2C_ANALOGFILTER_ENABLE) != HAL_OK)
  {
    Error_Handler();
  }

  /** Configure Digital filter
  */
  if (HAL_I2CEx_ConfigDigitalFilter(&hi2c1, 0) != HAL_OK)
  {
    Error_Handler();
  }

}

static void MX_I2C2_Init(void)
{

  hi2c2.Instance = I2C2;
  hi2c2.Init.Timing = 0x10B17DB5;
  hi2c2.Init.OwnAddress1 = 0;
  hi2c2.Init.AddressingMode = I2C_ADDRESSINGMODE_7BIT;
  hi2c2.Init.DualAddressMode = I2C_DUALADDRESS_DISABLE;
  hi2c2.Init.OwnAddress2 = 0;
  hi2c2.Init.OwnAddress2Masks = I2C_OA2_NOMASK;
  hi2c2.Init.GeneralCallMode = I2C_GENERALCALL_DISABLE;
  hi2c2.Init.NoStretchMode = I2C_NOSTRETCH_DISABLE;
  if (HAL_I2C_Init(&hi2c2) != HAL_OK)
  {
    Error_Handler();
  }

  /** Configure Analogue filter
  */
  if (HAL_I2CEx_ConfigAnalogFilter(&hi2c2, I2C_ANALOGFILTER_ENABLE) != HAL_OK)
  {
    Error_Handler();
  }

  /** Configure Digital filter
  */
  if (HAL_I2CEx_ConfigDigitalFilter(&hi2c2, 0) != HAL_OK)
  {
    Error_Handler();
  }

}

static void MX_I2S1_Init(void)
{

  hi2s1.Instance = SPI1;
  hi2s1.Init.Mode = I2S_MODE_SLAVE_RX;
  hi2s1.Init.Standard = I2S_STANDARD_PHILIPS;
  hi2s1.Init.DataFormat = I2S_DATAFORMAT_24B;
  hi2s1.Init.MCLKOutput = I2S_MCLKOUTPUT_DISABLE;
  hi2s1.Init.AudioFreq = I2S_AUDIOFREQ_48K;
  hi2s1.Init.CPOL = I2S_CPOL_LOW;
  if (HAL_I2S_Init(&hi2s1) != HAL_OK)
  {
    Error_Handler();
  }

}

static void MX_USART1_UART_Init(void)
{

  huart1.Instance = USART1;
  huart1.Init.BaudRate = 115200;
  huart1.Init.WordLength = UART_WORDLENGTH_8B;
  huart1.Init.StopBits = UART_STOPBITS_2;
  huart1.Init.Parity = UART_PARITY_NONE;
  huart1.Init.Mode = UART_MODE_TX_RX;
  huart1.Init.HwFlowCtl = UART_HWCONTROL_NONE;
  huart1.Init.OverSampling = UART_OVERSAMPLING_16;
  huart1.Init.OneBitSampling = UART_ONE_BIT_SAMPLE_DISABLE;
  huart1.Init.ClockPrescaler = UART_PRESCALER_DIV1;
  huart1.AdvancedInit.AdvFeatureInit = UART_ADVFEATURE_NO_INIT;
  if (HAL_UART_Init(&huart1) != HAL_OK)
  {
    Error_Handler();
  }
  if (HAL_UARTEx_SetTxFifoThreshold(&huart1, UART_TXFIFO_THRESHOLD_1_8) != HAL_OK)
  {
    Error_Handler();
  }
  if (HAL_UARTEx_SetRxFifoThreshold(&huart1, UART_RXFIFO_THRESHOLD_1_8) != HAL_OK)
  {
    Error_Handler();
  }
  if (HAL_UARTEx_DisableFifoMode(&huart1) != HAL_OK)
  {
    Error_Handler();
  }

}

static void MX_USART2_UART_Init(void)
{

  huart2.Instance = USART2;
  huart2.Init.BaudRate = 115200;
  huart2.Init.WordLength = UART_WORDLENGTH_8B;
  huart2.Init.StopBits = UART_STOPBITS_1;
  huart2.Init.Parity = UART_PARITY_NONE;
  huart2.Init.Mode = UART_MODE_TX_RX;
  huart2.Init.HwFlowCtl = UART_HWCONTROL_NONE;
  huart2.Init.OverSampling = UART_OVERSAMPLING_16;
  huart2.Init.OneBitSampling = UART_ONE_BIT_SAMPLE_DISABLE;
  huart2.Init.ClockPrescaler = UART_PRESCALER_DIV1;
  huart2.AdvancedInit.AdvFeatureInit = UART_ADVFEATURE_NO_INIT;
  if (HAL_UART_Init(&huart2) != HAL_OK)
  {
    Error_Handler();
  }

}

static void MX_GPIO_Init(void)
{
  GPIO_InitTypeDef GPIO_InitStruct = {0};

  /* GPIO Ports Clock Enable */
  __HAL_RCC_GPIOF_CLK_ENABLE();
  __HAL_RCC_GPIOA_CLK_ENABLE();
  __HAL_RCC_GPIOB_CLK_ENABLE();
  __HAL_RCC_GPIOD_CLK_ENABLE();

  /*Configure GPIO pin Output Level */
  HAL_GPIO_WritePin(GPIOF, LED1_Pin|LED2_Pin, GPIO_PIN_RESET);

  /*Configure GPIO pin Output Level */
  HAL_GPIO_WritePin(BT_EN_GPIO_Port, BT_EN_Pin, GPIO_PIN_RESET);

  /*Configure GPIO pin Output Level */
  HAL_GPIO_WritePin(PDN__GPIO_Port, PDN__Pin, GPIO_PIN_SET);

  /*Configure GPIO pin Output Level */
  HAL_GPIO_WritePin(ADC_MASTER_GPIO_Port, ADC_MASTER_Pin, GPIO_PIN_RESET);

  /*Configure GPIO pins : LED1_Pin LED2_Pin */
  GPIO_InitStruct.Pin = LED1_Pin|LED2_Pin;
  GPIO_InitStruct.Mode = GPIO_MODE_OUTPUT_PP;
  GPIO_InitStruct.Pull = GPIO_PULLDOWN;
  GPIO_InitStruct.Speed = GPIO_SPEED_FREQ_LOW;
  HAL_GPIO_Init(GPIOF, &GPIO_InitStruct);

  /*Configure GPIO pin : BT_EN_Pin */
  GPIO_InitStruct.Pin = BT_EN_Pin;
  GPIO_InitStruct.Mode = GPIO_MODE_OUTPUT_PP;
  GPIO_InitStruct.Pull = GPIO_PULLDOWN;
  GPIO_InitStruct.Speed = GPIO_SPEED_FREQ_LOW;
  HAL_GPIO_Init(BT_EN_GPIO_Port, &GPIO_InitStruct);

  /*Configure GPIO pin : BT_PRESENT_Pin */
  GPIO_InitStruct.Pin = BT_PRESENT_Pin;
  GPIO_InitStruct.Mode = GPIO_MODE_INPUT;
  GPIO_InitStruct.Pull = GPIO_PULLUP;
  HAL_GPIO_Init(BT_PRESENT_GPIO_Port, &GPIO_InitStruct);

  /*Configure GPIO pin : PDN__Pin */
  GPIO_InitStruct.Pin = PDN__Pin;
  GPIO_InitStruct.Mode = GPIO_MODE_OUTPUT_PP;
  GPIO_InitStruct.Pull = GPIO_NOPULL;
  GPIO_InitStruct.Speed = GPIO_SPEED_FREQ_LOW;
  HAL_GPIO_Init(PDN__GPIO_Port, &GPIO_InitStruct);

  /*Configure GPIO pin : SW_LEFT_Pin */
  GPIO_InitStruct.Pin = SW_LEFT_Pin;
  GPIO_InitStruct.Mode = GPIO_MODE_IT_RISING_FALLING;
  GPIO_InitStruct.Pull = GPIO_NOPULL;
  HAL_GPIO_Init(SW_LEFT_GPIO_Port, &GPIO_InitStruct);

  /*Configure GPIO pin : ADC_MASTER_Pin */
  GPIO_InitStruct.Pin = ADC_MASTER_Pin;
  GPIO_InitStruct.Mode = GPIO_MODE_OUTPUT_PP;
  GPIO_InitStruct.Pull = GPIO_PULLDOWN;
  GPIO_InitStruct.Speed = GPIO_SPEED_FREQ_LOW;
  HAL_GPIO_Init(ADC_MASTER_GPIO_Port, &GPIO_InitStruct);

  /*Configure GPIO pin : BTN_ON_OFF_Pin */
  GPIO_InitStruct.Pin = BTN_ON_OFF_Pin;
  GPIO_InitStruct.Mode = GPIO_MODE_IT_FALLING;
  GPIO_InitStruct.Pull = GPIO_PULLUP;
  HAL_GPIO_Init(BTN_ON_OFF_GPIO_Port, &GPIO_InitStruct);

  /*Configure GPIO pins : BTN_VOL_UP_Pin BTN_VOL_DOWN_Pin BTN_SOURCE_Pin */
  GPIO_InitStruct.Pin = BTN_VOL_UP_Pin|BTN_VOL_DOWN_Pin|BTN_SOURCE_Pin;
  GPIO_InitStruct.Mode = GPIO_MODE_IT_FALLING;
  GPIO_InitStruct.Pull = GPIO_PULLUP;
  HAL_GPIO_Init(GPIOD, &GPIO_InitStruct);

  /* EXTI interrupt init*/
  HAL_NVIC_SetPriority(EXTI0_1_IRQn, 0, 0);
  HAL_NVIC_EnableIRQ(EXTI0_1_IRQn);

  HAL_NVIC_SetPriority(EXTI2_3_IRQn, 0, 0);
  HAL_NVIC_EnableIRQ(EXTI2_3_IRQn);

  HAL_NVIC_SetPriority(EXTI4_15_IRQn, 0, 0);
  HAL_NVIC_EnableIRQ(EXTI4_15_IRQn);

}

/* USER CODE BEGIN 4 */

uint8_t getIndex(uint16_t GPIO_Pin) {
  uint8_t index = 0;
  switch (GPIO_Pin) {
    case SW_LEFT_Pin:
      index = SW_LEFT_INDEX;
      break;
    case BTN_SOURCE_Pin:
      index = BTN_SOURCE;
      break;
    case BTN_VOL_DOWN_Pin:
      index = BTN_VOLUME_DOWN;
      break;
    case BTN_VOL_UP_Pin:
      index = BTN_VOLUME_UP;
      break;
    case BTN_ON_OFF_Pin:
      index = BTN_ON_OFF;
      break;
    default:
      return 0xFF; // Invalid pin
  }
  return index;
}

void HAL_GPIO_EXTI_Rising_Callback(uint16_t GPIO_Pin) {
  uint8_t index = getIndex(GPIO_Pin);
  if (index == 0xFF) return;
  swLastEdge[index] = HAL_GetTick();
  swPending[index] = 1;
}

void HAL_GPIO_EXTI_Falling_Callback(uint16_t GPIO_Pin) {
  uint8_t index = getIndex(GPIO_Pin);
  if (index == 0xFF) return;
  swLastEdge[index] = HAL_GetTick();
  swPending[index] = 1;
}

void HAL_UART_RxCpltCallback(UART_HandleTypeDef *huart) {
  pc_control_rx_callback(huart);
}
/* USER CODE END 4 */

void Error_Handler(void)
{
  /* USER CODE BEGIN Error_Handler_Debug */
  /* User can add his own implementation to report the HAL error return state */
  __disable_irq();
  while (1) {
    HAL_GPIO_TogglePin(LED1_GPIO_Port, LED1_Pin);
    HAL_Delay(100);
  }
  /* USER CODE END Error_Handler_Debug */
}
#ifdef USE_FULL_ASSERT
/**
  * @brief  Reports the name of the source file and the source line number
  *         where the assert_param error has occurred.
  * @param  file: pointer to the source file name
  * @param  line: assert_param error line source number
  * @retval None
  */
void assert_failed(uint8_t *file, uint32_t line)
{
  /* USER CODE BEGIN 6 */
  /* User can add his own implementation to report the file name and line
     number, ex: printf("Wrong parameters value: file %s on line %d\r\n", file,
     line) */
  /* USER CODE END 6 */
}
#endif /* USE_FULL_ASSERT */
